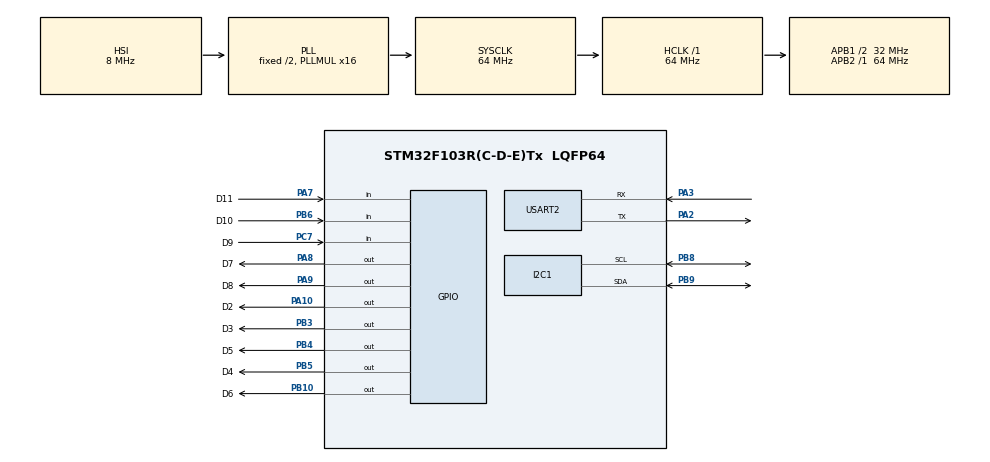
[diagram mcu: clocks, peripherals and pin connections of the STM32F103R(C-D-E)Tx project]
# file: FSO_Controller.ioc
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I2C1.I2C_Mode=I2C_Fast
Mcu.Family=STM32F1
Mcu.Name=STM32F103R(C-D-E)Tx
Mcu.Package=LQFP64
NVIC.I2C1_EV_IRQn=true\:0\:0\:false\:false\:true\:true\:true\:true
NVIC.PriorityGroup=NVIC_PRIORITYGROUP_4
PA10.GPIO_Label=D2
PA10.Signal=GPIO_Output
PA13.Mode=Serial_Wire
PA13.Signal=SYS_JTMS-SWDIO
PA14.Mode=Serial_Wire
PA14.Signal=SYS_JTCK-SWCLK
PA2.Mode=Asynchronous
PA2.Signal=USART2_TX
PA3.Mode=Asynchronous
PA3.Signal=USART2_RX
PA7.GPIO_Label=D11
PA7.GPIO_PuPd=GPIO_PULLUP
PA7.Signal=GPIO_Input
PA8.GPIO_Label=D7
PA8.Signal=GPIO_Output
PA9.GPIO_Label=D8
PA9.Signal=GPIO_Output
PB10.GPIO_Label=D6
PB10.Signal=GPIO_Output
PB3.GPIO_Label=D3
PB3.GPIO_PuPd=GPIO_NOPULL
PB3.Signal=GPIO_Output
PB4.GPIO_Label=D5
PB4.Signal=GPIO_Output
PB5.GPIO_Label=D4
PB5.Signal=GPIO_Output
PB6.GPIO_Label=D10
PB6.GPIO_PuPd=GPIO_PULLUP
PB6.Signal=GPIO_Input
PB8.Mode=I2C
PB8.Signal=I2C1_SCL
PB9.Mode=I2C
PB9.Signal=I2C1_SDA
PC7.GPIO_Label=D9
PC7.GPIO_PuPd=GPIO_PULLUP
PC7.Signal=GPIO_Input
ProjectManager.HeapSize=0x200
ProjectManager.StackSize=0x400
ProjectManager.TargetToolchain=STM32CubeIDE
RCC.AHBFreq_Value=64000000
RCC.APB1CLKDivider=RCC_HCLK_DIV2
RCC.APB1Freq_Value=32000000
RCC.APB1TimFreq_Value=64000000
RCC.APB2Freq_Value=64000000
RCC.APB2TimFreq_Value=64000000
RCC.HCLKFreq_Value=64000000
RCC.PLLMUL=RCC_PLL_MUL16
RCC.SYSCLKFreq_VALUE=64000000
RCC.SYSCLKSource=RCC_SYSCLKSOURCE_PLLCLK
RCC.USBFreq_Value=64000000
USART2.VirtualMode=VM_ASYNC
board=custom

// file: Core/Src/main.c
/* USER CODE BEGIN Header */
/**
  ******************************************************************************
  * @file           : main.c
  * @brief          : Main program body
  ******************************************************************************
  * @attention
  *
  * Copyright (c) 2026 STMicroelectronics.
  * All rights reserved.
  *
  * This software is licensed under terms that can be found in the LICENSE file
  * in the root directory of this software component.
  * If no LICENSE file comes with this software, it is provided AS-IS.
  *
  ******************************************************************************
  */
/* USER CODE END Header */
#include "main.h"

/* USER CODE BEGIN Includes */
#include <stdbool.h>
#include <stdint.h>
#include <stdio.h>
#include <string.h>
#include <math.h>
/* USER CODE END Includes */

/* USER CODE BEGIN PD */
#define STEPX_Port D2_GPIO_Port
#define STEPX_Pin  D2_Pin
#define STEPY_Port D3_GPIO_Port
#define STEPY_Pin  D3_Pin
#define STEPZ_Port D4_GPIO_Port
#define STEPZ_Pin  D4_Pin

#define DIRX_Port  D5_GPIO_Port
#define DIRX_Pin   D5_Pin
#define DIRY_Port  D6_GPIO_Port
#define DIRY_Pin   D6_Pin
#define DIRZ_Port  D7_GPIO_Port
#define DIRZ_Pin   D7_Pin

#define EN_Port    D8_GPIO_Port
#define EN_Pin     D8_Pin

#define LIMIT_X_Port D9_GPIO_Port
#define LIMIT_X_Pin  D9_Pin
#define LIMIT_Y_Port D10_GPIO_Port
#define LIMIT_Y_Pin  D10_Pin
#define LIMIT_Z_Port D11_GPIO_Port
#define LIMIT_Z_Pin  D11_Pin

#define SFP_ADDR_INFO  (0x50 << 1) // 0xA0
#define SFP_ADDR_DDM   (0x51 << 1) // 0xA2

#define BLACK 0

#if BLACK == 1 //BLACK
#define A_T_D 5748
#define D_T_A (3164 - 300)

#define W_T_X (4000)
#define X_T_W 3376

#define E_T_R 19887

#elif BLACK == 0 //COLOR

#define A_T_D 5758
#define D_T_A 2384

#define W_T_X 4541
#define X_T_W 2798

#define E_T_R 20564

#endif

#define SPIRAL_INCREMENT 25
#define SPIRAL_INCREMENT_BROAD 200

// =========================================================
// Active Compensation Configuration
// =========================================================

// Timing & Iterations
#define AC_TIMEOUT_MS          40000   // Comm timeout and IDLE reset interval (ms)
#define AC_RETRANSMIT_MS       40000   // Comm timeout and IDLE reset interval (ms)
#define AC_RUN_ITERATIONS      50     // Number of step iterations per compensation run
#define AC_RUN_HISTORY	       1     // Number of step iterations per compensation run
#define AC_TICKS_PER_STEP      9     // Super loop cycles to wait between motor evaluations
#define AC_RUN_DIVIDER         5     // Super loop cycles to wait between motor evaluations

// Math & Thresholds
#define AC_THRESH_NUM          4      // Threshold multiplier
#define AC_THRESH_DEN          5      // Threshold divisor-> 4/5 = 80%
#define AC_EMA_PERIOD          32      // Moving average period/weighting factor, ~ 30 samples SMA

#define ADC_REFRESH_TIME    15     // Default output power time interval

typedef enum{
	TO_E,
	HOME_X,
	TO_D,
	HOME_Y,
	TO_W,
	HOME_Z,
	HO_IDLE
} homing_states;

typedef enum{
	GO_D,
	GO_W,
	GO_A,
	GO_X,
	IDLE
} spiral_dir;

typedef enum{
	OPT_IDLE,
	OPT_Z,
	OPT_Y,
	OPT_X
} opt_states;

//AC - active compensation
typedef enum{
	AC_OFF, // NO ac at all
	AC_IDLE, // ac turn on, monitor power and see what happens, if power drops below treshold, change to ac_rdy_to_run and send to esp to signal
	AC_RUN, // run ac algorithm
	AC_WAIT_TO_SAVE, //ac wait for another device to save the pavg
	AC_PAVG_MEAS //measure pavg
} ac_states;

struct ac_struct {
    // 32-bit variables
    uint32_t mov_avg;
    int pmax;

    // 16-bit variables
    uint16_t rx_raw_max;

    // 8-bit/Enum variables
    ac_states state;
    uint8_t steps;
    uint8_t pavg_num;       // Retained: Assuming used in other states
    uint8_t SMA_num;        // Retained: Assuming used in other states
    uint8_t EMA_num;
    uint8_t iter;

    // Boolean flags (1-byte each)
    bool dir;               // Tracks active axis (e.g., 1 for Z, 0 for Y)
    bool dirz;              // Physical pin state for Z
    bool diry;              // Physical pin state for Y
    bool me_init;

    // --- New Sweep Logic Variables ---
    bool histeresis_hit;
    bool first_sweep;
    bool second_sweep;
    bool end_on_max;

//     --- Removed Variables ---
     uint32_t mov_avg_arr[AC_RUN_HISTORY];
     uint8_t dir_change_count[2];
} ac;

struct spiral_struct{
	spiral_dir state;
	int amount;
	int increment;
} spiral;

struct opt_struct{
	opt_states optimize_state_machine;
	int dir;
	int step_size;
} opt;

homing_states homing_state_machine = HO_IDLE;
/* USER CODE END PD */

I2C_HandleTypeDef hi2c1;

UART_HandleTypeDef huart2;

/* USER CODE BEGIN PV */
// State variables

bool pause = false;
bool xMoving = false, yMoving = false, zMoving = false;
bool motorsEnabled = true;
uint16_t stepsRemainingX = 0;
uint16_t stepsRemainingY = 0;
uint16_t stepsRemainingZ = 0;
uint16_t activeStepSize = 200;
uint16_t steps_bef_resetY = 0;
uint16_t steps_bef_resetZ = 0;
uint16_t steps_bef_resetX = 0;
bool isXPressed;
bool isYPressed;
bool isZPressed;

char buf[128];

uint8_t ddm_data[128]; // Buffer for DDM data
uint16_t rx_raw;

uint16_t output_pow_tm = 300;
uint32_t timestamp;

uint16_t rx_raw_max_dir = 0;
uint16_t rx_raw_max = 0;
bool end_on_max = false;
bool histeresis_hit = false;
bool first_sweep = false;
bool second_sweep = false;

bool skip_end_sw = false;
bool axis_homed = false;
// Latch variables
int blockedDirX = -1;
int blockedDirY = -1;
int blockedDirZ = -1;

bool ddm_benchmark = false;
uint16_t ddm_benchmark_i = 0;
uint32_t ddm_benchmark_timestamp = 0;
/* USER CODE END PV */

void SystemClock_Config(void);
static void MX_GPIO_Init(void);
static void MX_USART2_UART_Init(void);
static void MX_I2C1_Init(void);

/* USER CODE BEGIN 0 */
void delay_half_ms(void) {
    // 8,000 iterations * ~4 cycles/iteration = ~32,000 cycles (0.5ms at 64MHz)
    for (volatile uint32_t i = 0; i < 4000; i++) {
        __asm("NOP"); // No Operation: wastes 1 cycle to keep timing predictable
    }
}
void Serial_Print(const char* str) {
    HAL_UART_Transmit(&huart2, (uint8_t*)str, strlen(str), HAL_MAX_DELAY);
}

void Serial_Println(const char* str) {
    Serial_Print(str);
    Serial_Print("\r\n");
}

void Restart_States(void){
	//OPTIMIZE RESTART
	opt.optimize_state_machine = OPT_IDLE;
	opt.dir = 0;
	rx_raw_max = 0;
	rx_raw_max_dir = 0;
	end_on_max = false;
	histeresis_hit = false;
	first_sweep = false;
	second_sweep = false;

	//SPIRAL
	spiral.state = IDLE;
	spiral.amount = 0;
	spiral.increment = 0;

	homing_state_machine = HO_IDLE;
	skip_end_sw = false;

	//MOVEMENT

	stepsRemainingX = 0;
	stepsRemainingY = 0;
	stepsRemainingZ = 0;

	steps_bef_resetY = 0;
	steps_bef_resetX = 0;
	steps_bef_resetZ = 0;

	//AC RESTART
	ac.state = AC_OFF;
	ac.mov_avg = 0;

	output_pow_tm = 300;

}

void Handle_Movement(void){
	// 1. Check physical switch states (Assumes limits have Pull-Ups configured in CubeMX)
	if(!skip_end_sw){
		isXPressed = (HAL_GPIO_ReadPin(LIMIT_X_Port, LIMIT_X_Pin) == GPIO_PIN_RESET);
		isYPressed = (HAL_GPIO_ReadPin(LIMIT_Y_Port, LIMIT_Y_Pin) == GPIO_PIN_RESET);
		isZPressed = (HAL_GPIO_ReadPin(LIMIT_Z_Port, LIMIT_Z_Pin) == GPIO_PIN_RESET);
	}
	else{
		isXPressed = false;
		isYPressed = false;
		isZPressed = false;

	}
	//Cool down the motors!
	if(stepsRemainingX | stepsRemainingY | stepsRemainingZ)
	  HAL_GPIO_WritePin(EN_Port, EN_Pin, GPIO_PIN_RESET);
	else
	  HAL_GPIO_WritePin(EN_Port, EN_Pin, GPIO_PIN_SET);

	// 2. Handle X Latching Logic
	if (isXPressed) {
	  if (xMoving && blockedDirX == -1) {
		sprintf(buf, "X:%d Y:%d Z:%d\r\n", steps_bef_resetX, steps_bef_resetY, steps_bef_resetZ);
		Serial_Print(buf);
		blockedDirX = HAL_GPIO_ReadPin(DIRX_Port, DIRX_Pin);
		xMoving = false;
		stepsRemainingX = 0;
		//HOMING
		if(homing_state_machine == TO_E) { homing_state_machine = HOME_X; axis_homed = false; }
		else Restart_States();

		Serial_Print("!! X LIMIT HIT !! Blocked: ");
		Serial_Println(blockedDirX == GPIO_PIN_SET ? "HIGH (d)" : "LOW (a)");
	  }
	} else {
	  blockedDirX = -1;
	}
	// 2. Handle Y Latching Logic
	if (isYPressed) {
	  if (yMoving && blockedDirY == -1) {
		sprintf(buf, "X:%d Y:%d Z:%d\r\n", steps_bef_resetX, steps_bef_resetY, steps_bef_resetZ);
		Serial_Print(buf);
		blockedDirY = HAL_GPIO_ReadPin(DIRY_Port, DIRY_Pin);
		yMoving = false;
		stepsRemainingY = 0;
		//HOMING
		if(homing_state_machine == TO_D) { homing_state_machine = HOME_Y; axis_homed = false; }
		else Restart_States();

		Serial_Print("!! Y LIMIT HIT !! Blocked: ");
		Serial_Println(blockedDirY == GPIO_PIN_SET ? "HIGH (d)" : "LOW (a)");
	  }
	} else {
	  blockedDirY = -1;
	}

	// 3. Handle Z Latching Logic
	if (isZPressed) {
	  if (zMoving && blockedDirZ == -1) {
		sprintf(buf, "X:%d Y:%d Z:%d\r\n", steps_bef_resetX, steps_bef_resetY, steps_bef_resetZ);
		Serial_Print(buf);
		blockedDirZ = HAL_GPIO_ReadPin(DIRZ_Port, DIRZ_Pin);
		zMoving = false;
		stepsRemainingZ = 0;
		//HOMING
		if(homing_state_machine == TO_W) { homing_state_machine = HOME_Z; axis_homed = false; }
		else Restart_States();

		Serial_Print("!! Z LIMIT HIT !! Blocked: ");
		Serial_Println(blockedDirZ == GPIO_PIN_SET ? "HIGH (x)" : "LOW (w)");
	  }
	} else {
	  blockedDirZ = -1;
	}

	// --- MOTOR PULSING ---
	// X Safety Check
	if (xMoving) {
	  if (isXPressed && HAL_GPIO_ReadPin(DIRX_Port, DIRX_Pin) == blockedDirX) xMoving = false;
	  else { HAL_GPIO_WritePin(STEPX_Port, STEPX_Pin, GPIO_PIN_SET); ++steps_bef_resetX; }
	}

	// Y Safety Check
	if (yMoving) {
	  if (isYPressed && HAL_GPIO_ReadPin(DIRY_Port, DIRY_Pin) == blockedDirY) yMoving = false;
	  else { HAL_GPIO_WritePin(STEPY_Port, STEPY_Pin, GPIO_PIN_SET); ++steps_bef_resetY; }
	}

	// Z Safety Check
	if (zMoving) {
	  if (isZPressed && HAL_GPIO_ReadPin(DIRZ_Port, DIRZ_Pin) == blockedDirZ) zMoving = false;
	  else { HAL_GPIO_WritePin(STEPZ_Port, STEPZ_Pin, GPIO_PIN_SET);  ++steps_bef_resetZ; }
	}

//	HAL_Delay(1);
	delay_half_ms();

	//Wait for vibrations to settle
	if((opt.optimize_state_machine != OPT_IDLE || ac.state == AC_RUN) && !stepsRemainingY && !stepsRemainingZ){
		HAL_Delay(50);
	}

	HAL_GPIO_WritePin(STEPX_Port, STEPX_Pin, GPIO_PIN_RESET);
	HAL_GPIO_WritePin(STEPY_Port, STEPY_Pin, GPIO_PIN_RESET);
	HAL_GPIO_WritePin(STEPZ_Port, STEPZ_Pin, GPIO_PIN_RESET);

	if (stepsRemainingX > 0) {
	  stepsRemainingX--;
	} else {
	  xMoving = false;
	}
	if (stepsRemainingY > 0) {
	  stepsRemainingY--;
	} else {
	  yMoving = false;
	}
	if (stepsRemainingZ > 0) {
	  stepsRemainingZ--;
	} else {
	  zMoving = false;
	}
}

void Spiral_State_Machine(void){
	//spiral state machine
	if(spiral.state == IDLE) return;
	if(spiral.state == GO_D && !stepsRemainingY && !stepsRemainingZ){
		HAL_GPIO_WritePin(DIRY_Port, DIRY_Pin, GPIO_PIN_SET);
		yMoving = true;
		stepsRemainingY = (++spiral.amount) * spiral.increment;
		spiral.state = GO_W;
	}
	else if(spiral.state == GO_W && !stepsRemainingY && !stepsRemainingZ){
		HAL_GPIO_WritePin(DIRZ_Port, DIRZ_Pin, GPIO_PIN_RESET);
		zMoving = true;
		stepsRemainingZ = spiral.amount * spiral.increment;
		spiral.state = GO_A;
	}
	else if(spiral.state == GO_A && !stepsRemainingY && !stepsRemainingZ){
		HAL_GPIO_WritePin(DIRY_Port, DIRY_Pin, GPIO_PIN_RESET);
		yMoving = true;
		stepsRemainingY = (++spiral.amount) * spiral.increment;
		spiral.state = GO_X;

	}
	else if(spiral.state == GO_X && !stepsRemainingY && !stepsRemainingZ){
		HAL_GPIO_WritePin(DIRZ_Port, DIRZ_Pin, GPIO_PIN_SET);
		zMoving = true;
		stepsRemainingZ = spiral.amount * spiral.increment;
		spiral.state = GO_D;

	}

}

void Homing_State_Machine(void){
	//state machine for homing
	if(!(homing_state_machine != HO_IDLE && !stepsRemainingX && !stepsRemainingY && !stepsRemainingZ)) return;
	switch(homing_state_machine){
	case TO_E:
		HAL_GPIO_WritePin(DIRX_Port, DIRX_Pin, GPIO_PIN_SET); xMoving = true; stepsRemainingX = 60000; skip_end_sw = false;
		break;

	case HOME_X:
		if(!axis_homed) { HAL_GPIO_WritePin(DIRX_Port, DIRX_Pin, GPIO_PIN_RESET); xMoving = true; stepsRemainingX = E_T_R; axis_homed = true; skip_end_sw = true; }
		else { Restart_States(); homing_state_machine = HO_IDLE; }
		break;

	case TO_D:
		HAL_GPIO_WritePin(DIRY_Port, DIRY_Pin, GPIO_PIN_SET); yMoving = true; stepsRemainingY = 15000; skip_end_sw = false;
		break;

	case HOME_Y:
		if(!axis_homed) { HAL_GPIO_WritePin(DIRY_Port, DIRY_Pin, GPIO_PIN_RESET); yMoving = true; stepsRemainingY = D_T_A; axis_homed = true; skip_end_sw = true;}
		else homing_state_machine = TO_W;
		break;

	case TO_W:
		HAL_GPIO_WritePin(DIRZ_Port, DIRZ_Pin, GPIO_PIN_RESET); zMoving = true; stepsRemainingZ = 15000; skip_end_sw = false;
		break;

	case HOME_Z:
		if(!axis_homed) { HAL_GPIO_WritePin(DIRZ_Port, DIRZ_Pin, GPIO_PIN_SET); zMoving = true; stepsRemainingZ = W_T_X; axis_homed = true; skip_end_sw = true; }
		else { Restart_States(); homing_state_machine = HO_IDLE; }
		break;
	default: break;

	}

}

void Serial_Comms(void){
	uint8_t c;
	// --- SERIAL COMMS ---
	// Non-blocking UART receive (timeout = 0)
	if (HAL_UART_Receive(&huart2, &c, 1, 0) != HAL_OK) return;

	switch (c) {
		case 'g':
		  Restart_States();
		  opt.optimize_state_machine = OPT_Z;
		  opt.step_size = 10;
		  output_pow_tm = ADC_REFRESH_TIME;
		  break;

		case 'b':
			output_pow_tm = 2;
			ddm_benchmark_i = 0;
			ddm_benchmark = true;
			ddm_benchmark_timestamp = HAL_GetTick();
			HAL_GPIO_WritePin(DIRY_Port, DIRY_Pin, GPIO_PIN_SET); yMoving = true; stepsRemainingY = 200;

			break;

		case 'c':
		  if(ac.state == AC_OFF){
			  Serial_Println("Active compensation ON!");
			  Restart_States();
			  ac.state = AC_PAVG_MEAS;
			  ac.SMA_num = ac.pavg_num;
			  output_pow_tm = ADC_REFRESH_TIME;
		  }
		  else {
			  Serial_Println("Active compensation OFF!");
			  Restart_States();
			  ac.state = AC_OFF;
		  }
		  break;
		case '\'':
			if(ac.state == AC_IDLE) {
			  Serial_Println("Receive AC_INIT, START RUN");
			  ac.me_init = false;
			  // Inside AC_IDLE right before switching to AC_RUN:
			  ac.dir = 1;
			  ac.rx_raw_max = 0;
			  ac.histeresis_hit = false;
			  ac.first_sweep = false;
			  ac.second_sweep = false;
			  ac.end_on_max = false;

			  // Optional but recommended: reset the moving average to the current reading
			  // so the EMA doesn't have to "climb up" from 0 on the very first few ticks.
			  ac.mov_avg = rx_raw;

			  ac.state = AC_RUN;
			  ac.iter = AC_RUN_ITERATIONS;
			  ac.EMA_num = 0;
			}

		  break;
		case '"':
		  if(ac.state == AC_IDLE){
			  Serial_Println("Receive AC_DONE, START RUN");
			  // Inside AC_IDLE right before switching to AC_RUN:
			  ac.dir = 1;
			  ac.rx_raw_max = 0;
			  ac.histeresis_hit = false;
			  ac.first_sweep = false;
			  ac.second_sweep = false;
			  ac.end_on_max = false;

			  // Optional but recommended: reset the moving average to the current reading
			  // so the EMA doesn't have to "climb up" from 0 on the very first few ticks.
			  ac.mov_avg = rx_raw;

			  ac.state = AC_RUN;
			  ac.iter = AC_RUN_ITERATIONS;
			  ac.EMA_num = 0;
		  }
		  else if(ac.state == AC_WAIT_TO_SAVE){
			  Serial_Println("Receive AC_DONE, PROCESS AVG");
			  ac.state = AC_PAVG_MEAS;
			  ac.SMA_num = ac.pavg_num;
			  ac.mov_avg = 0;
		  }
		  break;

		case 'h':
		  homing_state_machine = TO_D;
		  break;
		case 'k':
		  homing_state_machine = TO_E;
		  break;
		case 'j':

		  Restart_States();
		  output_pow_tm = ADC_REFRESH_TIME;
		  spiral.state = GO_D;
		  spiral.increment = SPIRAL_INCREMENT;
		  break;

		case 'J':
		  Restart_States();
		  output_pow_tm = ADC_REFRESH_TIME;
		  spiral.state = GO_D;
		  spiral.increment = SPIRAL_INCREMENT_BROAD;
		  break;
		case 'p':
		  pause = !pause;
		  if(pause == true) HAL_GPIO_WritePin(EN_Port, EN_Pin, GPIO_PIN_SET);
		  else{
				if(stepsRemainingX | stepsRemainingY | stepsRemainingZ)
				  HAL_GPIO_WritePin(EN_Port, EN_Pin, GPIO_PIN_RESET);
				HAL_Delay(5);
		  }

		  break;

		// Z-Axis
		case 'e':
		  if (isXPressed && blockedDirX == GPIO_PIN_SET) Serial_Println("X Blocked!");
		  else { HAL_GPIO_WritePin(DIRX_Port, DIRX_Pin, GPIO_PIN_SET); xMoving = true; stepsRemainingX = activeStepSize; }
		  break;
		case 'r':
		  if (isXPressed && blockedDirX == GPIO_PIN_RESET) Serial_Println("X Blocked!");
		  else { HAL_GPIO_WritePin(DIRX_Port, DIRX_Pin, GPIO_PIN_RESET); xMoving = true; stepsRemainingX = activeStepSize; }
		  break;

		// Y-Axis
		case 'd':
		  if (isYPressed && blockedDirY == GPIO_PIN_SET) Serial_Println("Y Blocked!");
		  else { HAL_GPIO_WritePin(DIRY_Port, DIRY_Pin, GPIO_PIN_SET); yMoving = true; stepsRemainingY = activeStepSize; }
		  break;
		case 'a':
		  if (isYPressed && blockedDirY == GPIO_PIN_RESET) Serial_Println("Y Blocked!");
		  else { HAL_GPIO_WritePin(DIRY_Port, DIRY_Pin, GPIO_PIN_RESET); yMoving = true; stepsRemainingY = activeStepSize; }
		  break;

		// Z-Axis
		case 'x':
		  if (isZPressed && blockedDirZ == GPIO_PIN_SET) Serial_Println("Z Blocked!");
		  else { HAL_GPIO_WritePin(DIRZ_Port, DIRZ_Pin, GPIO_PIN_SET); zMoving = true; stepsRemainingZ = activeStepSize; }
		  break;
		case 'w':
		  if (isZPressed && blockedDirZ == GPIO_PIN_RESET) Serial_Println("Z Blocked!");
		  else { HAL_GPIO_WritePin(DIRZ_Port, DIRZ_Pin, GPIO_PIN_RESET); zMoving = true; stepsRemainingZ = activeStepSize; }
		  break;

		// Controls
		case 's':
		  activeStepSize = (activeStepSize == 200) ? 100 : (activeStepSize == 100) ? 10 : (activeStepSize == 10) ? 1 : 200;
		  snprintf(buf, sizeof(buf), "Step size: %u\r\n", activeStepSize);
		  Serial_Print(buf);
		  break;
		case ' ':
		 snprintf(buf, sizeof(buf), "steps_bef_resetY: %u, steps_bef_resetZ: %u, steps_bef_resetX: %u\r\n", steps_bef_resetY, steps_bef_resetZ, steps_bef_resetX);
		 Serial_Print(buf);
		 Restart_States();
		 break;
	}
}

void I2C_Readout(void){
	//READOUT
	static uint16_t ddm_benchmark_time[256];
	static uint16_t ddm_benchmark_power[256];

	if (HAL_I2C_Mem_Read(&hi2c1, SFP_ADDR_DDM, 96, I2C_MEMADD_SIZE_8BIT, &ddm_data[96], 22,100) != HAL_OK) return;
	char buf[32];
	// --- RX POWER
	// Offset 104-105. Units are 0.1 uW
	rx_raw = ((ddm_data[104] << 8) | ddm_data[105]) - 1;

	// Integer division gives the whole number, modulo gives the remainder
	uint16_t whole_uw = rx_raw / 10;
	uint16_t decimal_uw = rx_raw % 10;

	if(spiral.state != IDLE && rx_raw > 0 && rx_raw < 100) {Restart_States();}

	timestamp = HAL_GetTick();
	// Outputs: "Power: 123.4 uW"
	if(ac.state == AC_OFF && !ddm_benchmark){
		snprintf(buf, sizeof(buf), "T:%lu, Power: %u.%u uW\r\n",timestamp , whole_uw, decimal_uw);
		Serial_Print(buf);
	}
	else if(ddm_benchmark){
		ddm_benchmark_time[ddm_benchmark_i] = timestamp - ddm_benchmark_timestamp;
		ddm_benchmark_power[ddm_benchmark_i++] = rx_raw;
		ddm_benchmark_i = ddm_benchmark_i % 256;
		if(!stepsRemainingY){
			//PRINT IN LOOP
			snprintf(buf, sizeof(buf), "Benchmark ok, i: %u", ddm_benchmark_i);
			Serial_Println(buf);
			for(int i = 0; i < ddm_benchmark_i; ++i){
				snprintf(buf, sizeof(buf), "%u:%u;\r\n", ddm_benchmark_time[i], ddm_benchmark_power[i]);
				Serial_Print(buf);
			}

			ddm_benchmark = false;
			ddm_benchmark_i = 0;
			output_pow_tm = 0xFFFF;
		}
	}

//			float rx_uw = rx_raw * 0.0001f;
//
//			if(rx_uw > 0) {
//				rx_power_dbm = 10.0f * log10f(rx_uw);
//			} else {
//				rx_power_dbm = -40.0f; // Sensitivity floor
//			}
//			if(spiral.state != IDLE && rx_power_dbm > -39.99f && rx_power_dbm < -30.00f) {spiral.state = IDLE; }
//			snprintf(buf, sizeof(buf), "Power: %f dbm\r\n", rx_power_dbm);
//			Serial_Print(buf);

}
void Optimize(void){
	if(opt.optimize_state_machine == OPT_IDLE) return;
	if(rx_raw >= rx_raw_max){
		rx_raw_max = rx_raw;
		rx_raw_max_dir = opt.dir;
		if(end_on_max){
			stepsRemainingZ = 0; stepsRemainingY = 0;
			switch(opt.optimize_state_machine){
				case OPT_Z: opt.optimize_state_machine = OPT_Y; break;
				case OPT_Y: opt.optimize_state_machine = OPT_IDLE; output_pow_tm = 300; break;
				default: break;
			}
			rx_raw_max = 0;
			rx_raw_max_dir = 0;
			end_on_max = false;
			histeresis_hit = false;
			first_sweep = false;
			second_sweep = false;
			end_on_max = false;
			opt.step_size = 10;
			return;
		}
	}

	if((rx_raw < rx_raw_max / 4 || rx_raw == 0) && histeresis_hit){
		opt.dir = !opt.dir;
		if(end_on_max && opt.step_size != 1) {if((opt.step_size -= 2) < 1) opt.step_size = 1;}
		else if(end_on_max) rx_raw_max -= 25;
		end_on_max = second_sweep;
		second_sweep = first_sweep;
		first_sweep = true;
		histeresis_hit = false;
	}
	//WHen we skip histeresis point and go below it down to 0 is catastrophic, things just broke up :/
	else if(rx_raw > rx_raw_max / 2) histeresis_hit = true;

	switch(opt.optimize_state_machine){
		case OPT_Z: HAL_GPIO_WritePin(DIRZ_Port, DIRZ_Pin, opt.dir); zMoving = true; stepsRemainingZ = opt.step_size;  break;
		case OPT_Y: HAL_GPIO_WritePin(DIRY_Port, DIRY_Pin, opt.dir); yMoving = true; stepsRemainingY = opt.step_size; break;
		default: break;
	}
}

void Active_Compensation(void){

	char buf[64];
	static uint8_t print_check;
	if(ac.state == AC_OFF) return;
	static uint32_t ac_timestamp;
//	static uint16_t start_level, max_level;

	// whole procedure must be pretty quick, to make it work real time
	switch(ac.state){
	case AC_IDLE:
		//Measure Pavg, needs to ignore 0's or very low as it is some accidential collision
		//If Pavg < tresh*Pmax then communicate a will of compensation

		if(rx_raw == 0xFFFF) break; // eliminate big error
		if(rx_raw == 0x0000) break; // eliminate big error
		ac.mov_avg = rx_raw / AC_EMA_PERIOD + ac.mov_avg * (AC_EMA_PERIOD - 1) / AC_EMA_PERIOD;
		if((++print_check % 100) == 0){
			print_check = 0;
			snprintf(buf, sizeof(buf), "T:%lu Pavg = %lu.%lu uW \r\n", HAL_GetTick(), ac.mov_avg / 10, ac.mov_avg % 10);
			Serial_Print(buf);
		}
		if(HAL_GetTick() - ac_timestamp > AC_RETRANSMIT_MS && ac.mov_avg <= ac.pmax * AC_THRESH_NUM / AC_THRESH_DEN){
			Serial_Println("AC_INIT");
			snprintf(buf, sizeof(buf), "T:%lu Power dropped, Pavg = %lu.%lu uW \r\n", HAL_GetTick(), ac.mov_avg / 10, ac.mov_avg % 10);
			Serial_Print(buf);

			ac_timestamp = HAL_GetTick();
			ac.me_init = true;
		}
		else if(HAL_GetTick() - ac_timestamp > AC_RETRANSMIT_MS && ac.mov_avg >= ac.pmax * (AC_THRESH_DEN * 2 - AC_THRESH_NUM) / AC_THRESH_DEN){
			Serial_Println("AC_INIT");
			snprintf(buf, sizeof(buf), "T:%lu Power increased, Pavg = %lu.%lu uW \r\n", HAL_GetTick(), ac.mov_avg / 10, ac.mov_avg % 10);
			Serial_Print(buf);

			ac_timestamp = HAL_GetTick();
			ac.me_init = true;
		}

		break;

//	case AC_RUN:
//		// Update Moving Average using safe integer math
//		ac.mov_avg = (ac.mov_avg * (AC_RUN_DIVIDER - 1) + rx_raw) / AC_RUN_DIVIDER;
//
//		if(ac.EMA_num == 0){
//			uint16_t current_val = ac.mov_avg;
//			bool cond_swap_dir = false;
//
//			// 1. Track the Maximum Peak
//			if(current_val >= ac.rx_raw_max){
//				ac.rx_raw_max = current_val;
//
//				// If we are on the final returning sweep and found the peak again
//				if(ac.end_on_max){
//					// Handle Axis Transition
//					if(ac.dir) {
//						// Z-axis is done, switch to Y-axis
//						ac.dir = 0;
//						ac.rx_raw_max = 0;
//						ac.histeresis_hit = false;
//						ac.first_sweep = false;
//						ac.second_sweep = false;
//						ac.end_on_max = false;
//						Serial_Println("Z axis max found, changing to Y!!!");
//					} else {
//						// Y-axis is done, both finished
//						ac.iter = 1; // Force timeout to finish
//						Serial_Println("Two axis done!!!");
//					}
//				}
//			}
//
//			// 2. Define Thresholds (80% drop to turn around, 90% climb to arm hysteresis)
//			uint16_t drop_threshold = (ac.rx_raw_max * 8) / 10;
//			uint16_t climb_threshold = (ac.rx_raw_max * 9) / 10;
//
//			if(current_val > climb_threshold && ac.rx_raw_max > 0){
//				ac.histeresis_hit = true;
//			}
//
//			// 3. Turnaround Logic & Signal Loss Failsafe
//			if((current_val <= drop_threshold || current_val == 0) && ac.histeresis_hit){
//				cond_swap_dir = true;
//
//				// Decay max slightly on final sweep so we don't get stuck if laser drifts
//				if(ac.end_on_max) {
//					ac.rx_raw_max -= (ac.rx_raw_max / 20);
//				}
//
//				// Advance sweep state
//				ac.end_on_max = ac.second_sweep;
//				ac.second_sweep = ac.first_sweep;
//				ac.first_sweep = true;
//				ac.histeresis_hit = false;
//			}
//
//			// 4. Apply Direction and Movement
//			if(ac.dir){ // Z-Axis Active
//				if(cond_swap_dir) ac.dirz = !ac.dirz;
//				HAL_GPIO_WritePin(DIRZ_Port, DIRZ_Pin, ac.dirz);
//				zMoving = true;
//				stepsRemainingZ = ac.steps; // Assuming ac.steps is your desired step size here
//			} else {    // Y-Axis Active
//				if(cond_swap_dir) ac.diry = !ac.diry;
//				HAL_GPIO_WritePin(DIRY_Port, DIRY_Pin, ac.diry);
//				yMoving = true;
//				stepsRemainingY = ac.steps;
//			}
//
//			--ac.iter;
//		}
//
//		ac.EMA_num = (ac.EMA_num + 1) % AC_TICKS_PER_STEP;
//
//		// 5. Finish
//		if(!ac.iter){
//			ac.state = AC_WAIT_TO_SAVE;
//			ac_timestamp = HAL_GetTick();
//			Serial_Println("AC_DONE");
//		}
//		break;

   	case AC_RUN:
		//Receive signal from Serialcomms, AC_INIT/AC_DONE FROM AC_IDLE
   		bool cond_swap_dir = true;
		ac.mov_avg = rx_raw / AC_RUN_DIVIDER + ac.mov_avg * (AC_RUN_DIVIDER - 1) / AC_RUN_DIVIDER;
		if(ac.EMA_num == 0){
			if(ac.dir){
				//Check for down pattern or flat pattern
				for(int i = AC_RUN_HISTORY - 1; i > 0; --i)
					if(ac.mov_avg_arr[i] < ac.mov_avg_arr[i - 1]) cond_swap_dir = false;
				if(ac.mov_avg_arr[0] < ac.mov_avg) cond_swap_dir = false;
				if(cond_swap_dir) { ac.dirz = !ac.dirz; ++ac.dir_change_count[ac.dir];}
				HAL_GPIO_WritePin(DIRZ_Port, DIRZ_Pin, ac.dirz); zMoving = true;
				if(cond_swap_dir) stepsRemainingZ = (AC_RUN_HISTORY + 1) * ac.steps;
				else stepsRemainingZ = ac.steps;
			}
			else if (!ac.dir){
				//Check for down pattern or flat pattern
				for(int i = AC_RUN_HISTORY - 1; i > 0; --i)
					if(ac.mov_avg_arr[i] < ac.mov_avg_arr[i - 1]) cond_swap_dir = false;
				if(ac.mov_avg_arr[0] < ac.mov_avg) cond_swap_dir = false;
				if(cond_swap_dir) {ac.diry = !ac.diry; ++ac.dir_change_count[ac.dir];}
				HAL_GPIO_WritePin(DIRY_Port, DIRY_Pin, ac.diry); yMoving = true;
				if(cond_swap_dir) stepsRemainingY = (AC_RUN_HISTORY + 1) * ac.steps;
				else stepsRemainingY = ac.steps;
			}
			--ac.iter;
			//Change Z/Y if done
			if(ac.dir_change_count[ac.dir] == 2) {
				ac.dir = !ac.dir;
				memset(ac.mov_avg_arr, 0, sizeof(ac.mov_avg_arr));
				Serial_Println("Change the axis!!!");
			}
			//If both done signal finish
			if(ac.dir_change_count[0] == 2 && ac.dir_change_count[1] == 2) {
				ac.iter = 0;
				Serial_Println("Two axis done!!!");
			}
			//Save current result
			for(int i = AC_RUN_HISTORY - 1; i > 0; --i){
				ac.mov_avg_arr[i] = ac.mov_avg_arr[i - 1];
			}
			ac.mov_avg_arr[0] = ac.mov_avg;
		}
		ac.EMA_num = (ac.EMA_num + 1) % AC_TICKS_PER_STEP;
		//Finish
		if(!ac.iter){
			ac.state = AC_WAIT_TO_SAVE;
			ac_timestamp = HAL_GetTick();
			Serial_Println("AC_DONE");
		}
		break;

	case AC_WAIT_TO_SAVE:
		//wait for 2nd to finish and save, AC_DONE INDICATES
		if(ac.me_init) { // if i begin i measure
			ac.state = AC_PAVG_MEAS;
			ac.SMA_num = ac.pavg_num;
			ac.mov_avg = 0;
		}
		if(HAL_GetTick() - ac_timestamp > AC_TIMEOUT_MS)
		{
			Serial_Println("NO COMMS, State = PAVG_MEAS");
			ac.state = AC_PAVG_MEAS;
			ac.SMA_num = ac.pavg_num;
			ac.mov_avg = 0;
		}
		break;

	case AC_PAVG_MEAS:
		//measure, save as max and go idle
		if(rx_raw == 0xFFFF) break;
		ac.mov_avg += rx_raw;
		if(!(--ac.SMA_num))
		{

			ac.pmax = ac.mov_avg / ac.pavg_num;
			ac.mov_avg = ac.pmax;
			ac.me_init = false;

			snprintf(buf, sizeof(buf), "T:%lu Pmax = %u.%u uW \r\n", HAL_GetTick(), ac.pmax / 10, ac.pmax % 10);
			Serial_Print(buf);
			ac.state = AC_IDLE;
		}
		break;

	default: break;
	}
}

/* USER CODE END 0 */

int main(void)
{

  /* MCU Configuration--------------------------------------------------------*/

  /* Reset of all peripherals, Initializes the Flash interface and the Systick. */
  HAL_Init();

  /* Configure the system clock */
  SystemClock_Config();

  /* Initialize all configured peripherals */
  MX_GPIO_Init();
  MX_USART2_UART_Init();
  MX_I2C1_Init();
  /* USER CODE BEGIN 2 */
  HAL_GPIO_WritePin(EN_Port, EN_Pin, GPIO_PIN_RESET);
  Serial_Println("--- Dual Axis Limit Controller (Y & Z) ---");
  Restart_States();
  ac.steps = 10;
  ac.dirz = 0;
  ac.diry = 0;
  ac.pavg_num = 20;
  /* USER CODE END 2 */

  /* Infinite loop */
  /* USER CODE BEGIN WHILE */
  while (1)
  {

	if(!pause){
		Handle_Movement();
		Spiral_State_Machine();
		Homing_State_Machine();
	}

	Serial_Comms();

	if(HAL_GetTick() - timestamp > output_pow_tm){
		I2C_Readout();
		if(opt.optimize_state_machine != OPT_IDLE && !stepsRemainingX && !stepsRemainingY && !stepsRemainingZ) Optimize();
		if(ac.state != AC_OFF) Active_Compensation();
	}

    /* USER CODE END WHILE */

    /* USER CODE BEGIN 3 */
  }

  /*
   	case AC_RUN:
		//Receive signal from Serialcomms, AC_INIT/AC_DONE FROM AC_IDLE
		//Check if start measure this axis
		ac.mov_avg = (ac.mov_avg + rx_raw) / 2;
		if(ac.mov_avg_arr[0] == 0) {
			start_level = ac.mov_avg;
			max_level = ac.mov_avg;
		}
		if(ac.mov_avg > max_level) max_level = ac.mov_avg;

		if(ac.EMA_num == 0){
			if(ac.dir_change_count[ac.dir] == 2 && ac.mov_avg >= max_level * AC_THRESH_NUM / AC_THRESH_DEN){
				++ac.dir_change_count[ac.dir]; // FINISH
				Serial_Println("Axis found");
			}
			else if(ac.dir){
				if(ac.mov_avg < start_level / 2) {
					ac.dirz = !ac.dirz;
					++ac.dir_change_count[ac.dir];
					stepsRemainingZ = (5) * ac.steps;
					Serial_Println("Change dirz");
				}
				else stepsRemainingZ = ac.steps;
				HAL_GPIO_WritePin(DIRZ_Port, DIRZ_Pin, ac.dirz); zMoving = true;
			}
			else if (!ac.dir){
				if(ac.mov_avg < start_level / 2) {
					ac.diry = !ac.diry;
					++ac.dir_change_count[ac.dir];
					stepsRemainingY = (5) * ac.steps;
					Serial_Println("Change diry");
				}
				else stepsRemainingY = ac.steps;
				HAL_GPIO_WritePin(DIRY_Port, DIRY_Pin, ac.diry); zMoving = true;
			}
			--ac.iter;
			//Change Z/Y if done
			if(ac.dir_change_count[ac.dir] == 3) {
				ac.dir = !ac.dir;
				memset(ac.mov_avg_arr, 0, sizeof(ac.mov_avg_arr));
			}
			//If both done signal finish
			if(ac.dir_change_count[0] == 3 && ac.dir_change_count[1] == 3) ac.iter = 0;
			//Save current result
			for(int i = AC_RUN_HISTORY - 1; i > 0; --i){
				ac.mov_avg_arr[i] = ac.mov_avg_arr[i - 1];
			}
			ac.mov_avg_arr[0] = ac.mov_avg;
		}
		ac.EMA_num = (ac.EMA_num + 1) % AC_TICKS_PER_STEP;
		//Finish
		if(!ac.iter){
			ac.state = AC_WAIT_TO_SAVE;
			ac_timestamp = HAL_GetTick();
			Serial_Println("AC_DONE");
		}
		break;

   */
  /* USER CODE END 3 */
}

void SystemClock_Config(void)
{
  RCC_OscInitTypeDef RCC_OscInitStruct = {0};
  RCC_ClkInitTypeDef RCC_ClkInitStruct = {0};

  /** Initializes the RCC Oscillators according to the specified parameters
  * in the RCC_OscInitTypeDef structure.
  */
  RCC_OscInitStruct.OscillatorType = RCC_OSCILLATORTYPE_HSI;
  RCC_OscInitStruct.HSIState = RCC_HSI_ON;
  RCC_OscInitStruct.HSICalibrationValue = RCC_HSICALIBRATION_DEFAULT;
  RCC_OscInitStruct.PLL.PLLState = RCC_PLL_ON;
  RCC_OscInitStruct.PLL.PLLSource = RCC_PLLSOURCE_HSI_DIV2;
  RCC_OscInitStruct.PLL.PLLMUL = RCC_PLL_MUL16;
  if (HAL_RCC_OscConfig(&RCC_OscInitStruct) != HAL_OK)
  {
    Error_Handler();
  }

  /** Initializes the CPU, AHB and APB buses clocks
  */
  RCC_ClkInitStruct.ClockType = RCC_CLOCKTYPE_HCLK|RCC_CLOCKTYPE_SYSCLK
                              |RCC_CLOCKTYPE_PCLK1|RCC_CLOCKTYPE_PCLK2;
  RCC_ClkInitStruct.SYSCLKSource = RCC_SYSCLKSOURCE_PLLCLK;
  RCC_ClkInitStruct.AHBCLKDivider = RCC_SYSCLK_DIV1;
  RCC_ClkInitStruct.APB1CLKDivider = RCC_HCLK_DIV2;
  RCC_ClkInitStruct.APB2CLKDivider = RCC_HCLK_DIV1;

  if (HAL_RCC_ClockConfig(&RCC_ClkInitStruct, FLASH_LATENCY_2) != HAL_OK)
  {
    Error_Handler();
  }
}

static void MX_I2C1_Init(void)
{

  hi2c1.Instance = I2C1;
  hi2c1.Init.ClockSpeed = 400000;
  hi2c1.Init.DutyCycle = I2C_DUTYCYCLE_2;
  hi2c1.Init.OwnAddress1 = 0;
  hi2c1.Init.AddressingMode = I2C_ADDRESSINGMODE_7BIT;
  hi2c1.Init.DualAddressMode = I2C_DUALADDRESS_DISABLE;
  hi2c1.Init.OwnAddress2 = 0;
  hi2c1.Init.GeneralCallMode = I2C_GENERALCALL_DISABLE;
  hi2c1.Init.NoStretchMode = I2C_NOSTRETCH_DISABLE;
  if (HAL_I2C_Init(&hi2c1) != HAL_OK)
  {
    Error_Handler();
  }

}

static void MX_USART2_UART_Init(void)
{

  huart2.Instance = USART2;
  huart2.Init.BaudRate = 115200;
  huart2.Init.WordLength = UART_WORDLENGTH_8B;
  huart2.Init.StopBits = UART_STOPBITS_1;
  huart2.Init.Parity = UART_PARITY_NONE;
  huart2.Init.Mode = UART_MODE_TX_RX;
  huart2.Init.HwFlowCtl = UART_HWCONTROL_NONE;
  huart2.Init.OverSampling = UART_OVERSAMPLING_16;
  if (HAL_UART_Init(&huart2) != HAL_OK)
  {
    Error_Handler();
  }

}

static void MX_GPIO_Init(void)
{
  GPIO_InitTypeDef GPIO_InitStruct = {0};

  /* GPIO Ports Clock Enable */
  __HAL_RCC_GPIOA_CLK_ENABLE();
  __HAL_RCC_GPIOB_CLK_ENABLE();
  __HAL_RCC_GPIOC_CLK_ENABLE();

  /*Configure GPIO pin Output Level */
  HAL_GPIO_WritePin(GPIOB, D6_Pin|D3_Pin|D5_Pin|D4_Pin, GPIO_PIN_RESET);

  /*Configure GPIO pin Output Level */
  HAL_GPIO_WritePin(GPIOA, D7_Pin|D8_Pin|D2_Pin, GPIO_PIN_RESET);

  /*Configure GPIO pin : D11_Pin */
  GPIO_InitStruct.Pin = D11_Pin;
  GPIO_InitStruct.Mode = GPIO_MODE_INPUT;
  GPIO_InitStruct.Pull = GPIO_PULLUP;
  HAL_GPIO_Init(D11_GPIO_Port, &GPIO_InitStruct);

  /*Configure GPIO pins : D6_Pin D3_Pin D5_Pin D4_Pin */
  GPIO_InitStruct.Pin = D6_Pin|D3_Pin|D5_Pin|D4_Pin;
  GPIO_InitStruct.Mode = GPIO_MODE_OUTPUT_PP;
  GPIO_InitStruct.Pull = GPIO_NOPULL;
  GPIO_InitStruct.Speed = GPIO_SPEED_FREQ_LOW;
  HAL_GPIO_Init(GPIOB, &GPIO_InitStruct);

  /*Configure GPIO pin : D9_Pin */
  GPIO_InitStruct.Pin = D9_Pin;
  GPIO_InitStruct.Mode = GPIO_MODE_INPUT;
  GPIO_InitStruct.Pull = GPIO_PULLUP;
  HAL_GPIO_Init(D9_GPIO_Port, &GPIO_InitStruct);

  /*Configure GPIO pins : D7_Pin D8_Pin D2_Pin */
  GPIO_InitStruct.Pin = D7_Pin|D8_Pin|D2_Pin;
  GPIO_InitStruct.Mode = GPIO_MODE_OUTPUT_PP;
  GPIO_InitStruct.Pull = GPIO_NOPULL;
  GPIO_InitStruct.Speed = GPIO_SPEED_FREQ_LOW;
  HAL_GPIO_Init(GPIOA, &GPIO_InitStruct);

  /*Configure GPIO pin : D10_Pin */
  GPIO_InitStruct.Pin = D10_Pin;
  GPIO_InitStruct.Mode = GPIO_MODE_INPUT;
  GPIO_InitStruct.Pull = GPIO_PULLUP;
  HAL_GPIO_Init(D10_GPIO_Port, &GPIO_InitStruct);

}

void Error_Handler(void)
{
  __disable_irq();
  while (1)
  {
  }
}
